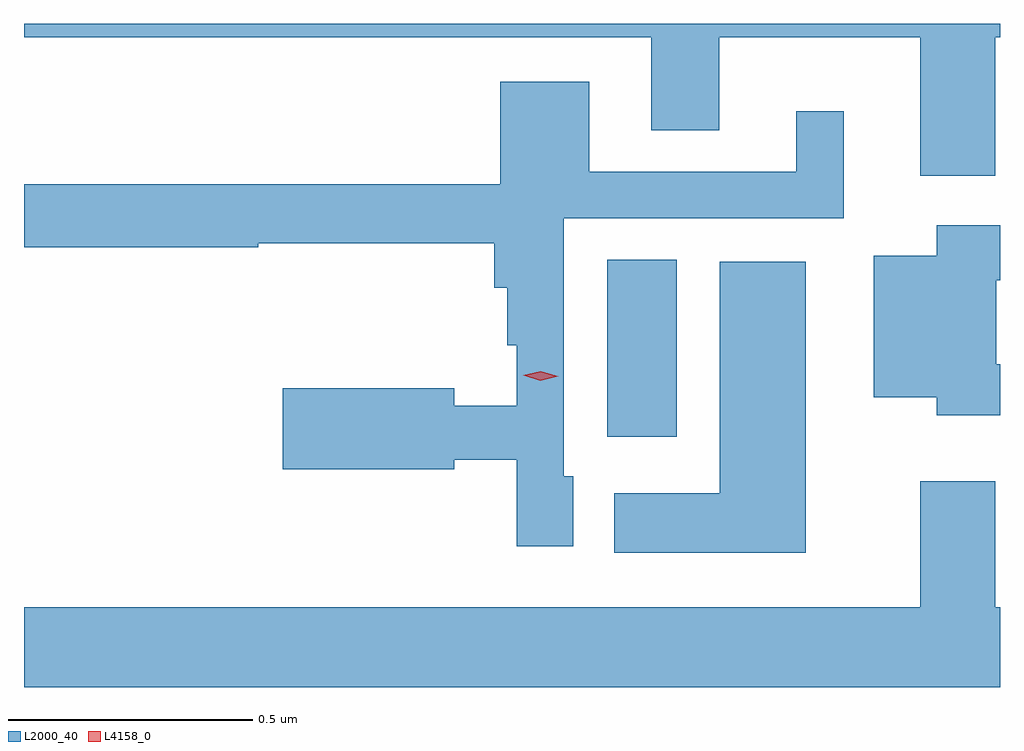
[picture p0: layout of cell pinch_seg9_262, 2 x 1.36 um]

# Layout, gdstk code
import gdstk
lib = gdstk.Library(unit=1e-6, precision=1e-09)
def R(c, l, rs):  # rectangles x0, y0, x1, y1
    for r in rs: c.add(gdstk.rectangle(r[:2], r[2:], *l))
def P(c, l, *ps):  # polygons
    for p in ps: c.add(gdstk.Polygon(p, *l))
L2000_40 = (2000, 40)
L4158_0 = (4158, 0)

pinch_seg9_262 = lib.new_cell('pinch_seg9_262')
R(pinch_seg9_262, L2000_40, [(457.949,1208.922,458.092,1209.284)])
P(pinch_seg9_262, L2000_40, [(458.744,1209.74),(458.754,1209.74),(458.754,1209.768),(456.754,1209.768),(456.754,1209.74),(458.039,1209.74),(458.039,1209.55),(458.179,1209.55),(458.179,1209.74),(458.591,1209.74),(458.591,1209.456),(458.744,1209.456)],
  [(457.879,1208.841),(457.86,1208.841),(457.86,1209.369),(458.434,1209.369),(458.434,1209.589),(458.336,1209.589),(458.336,1209.465),(457.912,1209.465),(457.912,1209.649),(457.73,1209.649),(457.73,1209.439),(456.754,1209.439),(456.754,1209.31),(457.234,1209.31),(457.234,1209.318),(457.718,1209.318),(457.718,1209.227),(457.744,1209.227),(457.744,1209.109),(457.764,1209.109),(457.764,1208.985),(457.636,1208.985),(457.636,1209.021),(457.284,1209.021),(457.284,1208.855),(457.636,1208.855),(457.636,1208.874),(457.764,1208.874),(457.764,1208.697),(457.879,1208.697)],
  [(458.754,1209.07),(458.746,1209.07),(458.746,1209.242),(458.754,1209.242),(458.754,1209.355),(458.624,1209.355),(458.624,1209.292),(458.495,1209.292),(458.495,1209.002),(458.624,1209.002),(458.624,1208.966),(458.754,1208.966)],
  [(458.356,1209.28),(458.18,1209.28),(458.18,1208.806),(457.964,1208.806),(457.964,1208.684),(458.356,1208.684)],
  [(458.754,1208.572),(458.744,1208.572),(458.744,1208.83),(458.591,1208.83),(458.591,1208.572),(456.754,1208.572),(456.754,1208.408),(458.754,1208.408)])
P(pinch_seg9_262, L4158_0, [(457.812,1209.036),(457.777,1209.048),(457.777,1209.048),(457.777,1209.048),(457.813,1209.056),(457.849,1209.045),(457.849,1209.045),(457.849,1209.045)])

lib.write_gds('pinch_seg9_262.gds')
